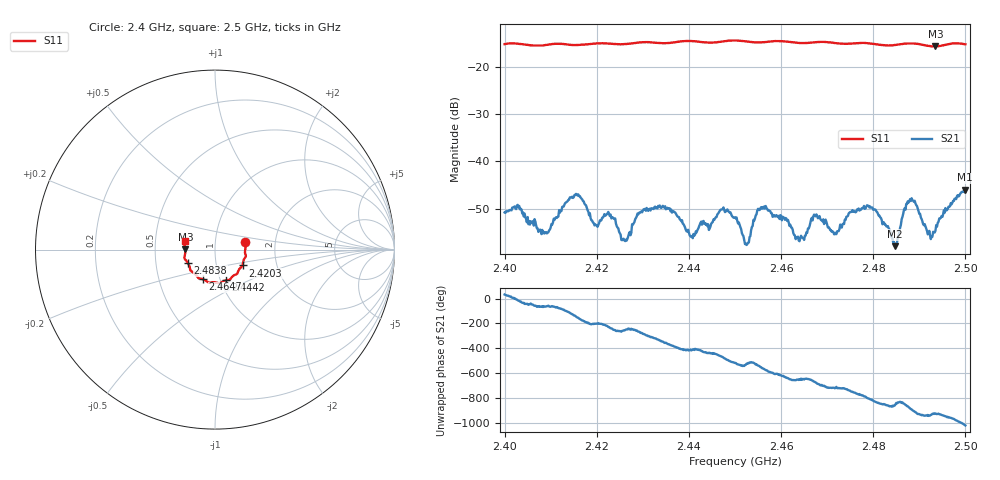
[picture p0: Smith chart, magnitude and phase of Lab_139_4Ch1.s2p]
# Hz S RI R 50
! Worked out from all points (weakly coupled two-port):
!   601 points, 2.4 GHz to 2.5 GHz, reference 50 ohm
!   highest |S21| = -45.97 dB at 2.4998 GHz (marker M1); lowest = -57.9 dB at 2.4847 GHz (marker M2)
!   lowest |S11| = -15.7 dB at 2.4935 GHz (marker M3), VSWR 1.39, Z = 35.9 + j0.116 ohm
!   |S11| at or under -10 dB: start of sweep to end of sweep
!   S12 and S22 are empty: the file has one direction only
!   S11 on the Smith chart (normalised r, x): 2.4 GHz: 1.40, +0.11; 2.4203 GHz: 1.34, -0.24; 2.4442 GHz: 1.06, -0.37; 2.4647 GHz: 0.83, -0.28; 2.4838 GHz: 0.73, -0.11; 2.5 GHz: 0.71, +0.07
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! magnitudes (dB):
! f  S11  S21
! 2.4 GHz  -15.2  -50.8
! 2.4088 GHz  -15.4  -55.0
! 2.4167 GHz  -15.3  -47.8
! 2.4203 GHz  -15.0  -53.4
! 2.426 GHz  -15.2  -56.7
! 2.4333 GHz  -14.9  -49.4
! 2.4407 GHz  -14.5  -56.0
! 2.4442 GHz  -14.9  -53.3
! 2.45 GHz  -14.4  -51.8
! 2.4525 GHz  -14.6  -57.7
! 2.4562 GHz  -14.8  -49.9
! 2.4647 GHz  -15.0  -56.2
! 2.4667 GHz  -14.8  -51.9
! 2.472 GHz  -15.0  -55.4
! 2.479 GHz  -15.0  -49.4
! 2.4833 GHz  -15.5  -54.1
! 2.4838 GHz  -15.5  -55.4
! 2.4847 GHz  -15.4  -57.9
! 2.488 GHz  -15.0  -48.0
! 2.4935 GHz  -15.7  -54.6
! 2.4998 GHz  -15.2  -46.0
! 2.5 GHz  -15.2  -46.5
